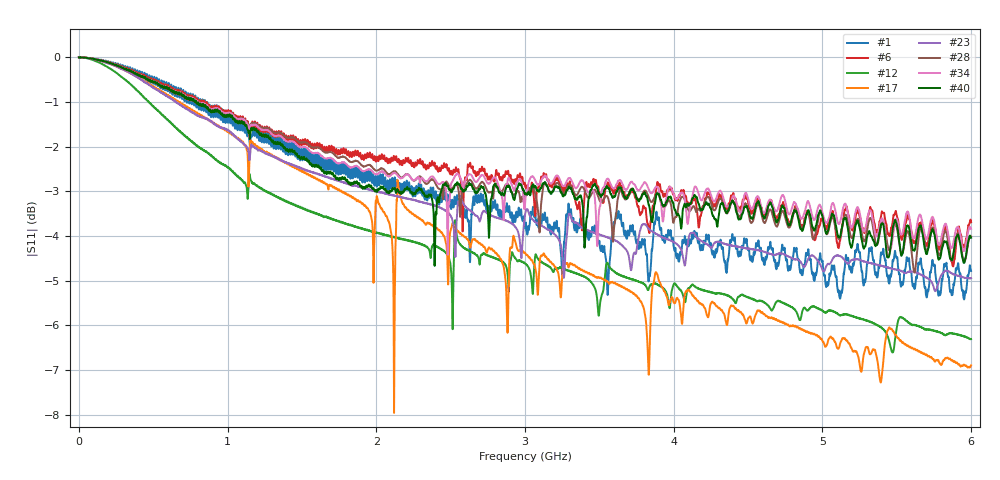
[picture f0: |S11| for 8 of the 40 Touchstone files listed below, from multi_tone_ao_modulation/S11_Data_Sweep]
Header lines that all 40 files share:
!Keysight Technologies,P9374A,MY57304198,A.17.20.09
!Correction: S11(C  1-Port  )
!S21(C  1-Port  )
!S12(Off)
!S22(Off)
!S2P File: Measurements: S11, S21, S12, S22:
# Hz S  dB  R 50
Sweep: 300 kHz to 6 GHz
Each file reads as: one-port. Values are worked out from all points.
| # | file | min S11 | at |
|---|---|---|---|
| 1 | die2-3_wg01_RU_ultranarrowperiodic_bi_1mm_2024-08-16-16-13.s2p | -5.4 dB | 5.953 GHz |
| 2 | die2-3_wg01_RU_ultranarrowperiodic_bi_2mm_2024-08-16-16-19.s2p | -5.7 dB | 5.953 GHz |
| 3 | die2-3_wg01_RU_ultranarrowperiodic_bi_500um_2024-08-16-16-16.s2p | -4.4 dB | 5.121 GHz |
| 4 | die2-3_wg02_RU_ultranarrowperiodic_bi_1mm_2024-08-16-16-33.s2p | -5.8 dB | 5.866 GHz |
| 5 | die2-3_wg2_RU_ultranarrowperiodic_bi_1mm_2024-08-20-09-36.s2p | -4.5 dB | 5.901 GHz |
| 6 | die2-3_wg02_RU_ultranarrowperiodic_bi_500um_2024-08-16-16-30.s2p | -4.7 dB | 5.88 GHz |
| 7 | die2-3_wg02_RU_ultranarrowperiodicl_bi_2mm_2024-08-16-16-27.s2p | -6.5 dB | 5.865 GHz |
| 8 | die2-3_wg3_RU_ultranarrowperiodic_bi_1mm_2024-08-20-09-40.s2p | -5.0 dB | 5.686 GHz |
| 9 | die2-3_wg3_RU_ultranarrowperiodic_bi_2mm_2024-08-20-09-45.s2p | -7.4 dB | 5.644 GHz |
| 10 | die2-3_wg3_RU_ultranarrowperiodic_bi_500um_2024-08-20-09-42.s2p | -5.2 dB | 5.668 GHz |
| 11 | die2-3_wg4_RU_ultranarrowperiodic_bi_1mm_2024-08-20-09-53.s2p | -6.6 dB | 5.508 GHz |
| 12 | die2-3_wg4_RU_ultranarrowperiodic_bi_2mm_2024-08-20-09-48.s2p | -6.6 dB | 5.472 GHz |
| 13 | die2-3_wg4_RU_ultranarrowperiodic_bi_500um_2024-08-20-09-51.s2p | -4.8 dB | 5.504 GHz |
| 14 | die2-3_wg5_RU_ultranarrowperiodic_bi_1mm_2024-08-20-09-55.s2p | -6.5 dB | 5.999 GHz |
| 15 | die2-3_wg5_RU_ultranarrowperiodic_bi_2mm_2024-08-20-10-02.s2p | -6.0 dB | 5.998 GHz |
| 16 | die2-3_wg5_RU_ultranarrowperiodic_bi_500um_2024-08-20-10-00.s2p | -5.2 dB | 5.244 GHz |
| 17 | die2-3_wg6_RU_ultranarrowperiodic_bi_1mm_2024-08-20-10-08.s2p | -8.0 dB | 2.12 GHz |
| 18 | die2-3_wg6_RU_ultranarrowperiodic_bi_2mm_2024-08-20-10-04.s2p | -8.0 dB | 2.108 GHz |
| 19 | die2-3_wg6_RU_ultranarrowperiodic_bi_500um_2024-08-20-10-07.s2p | -6.4 dB | 2.117 GHz |
| 20 | die2-3_wg7_RL_narrowperiodic_bar_2mm_2024-08-15-12-37.s2p | -6.3 dB | 5.789 GHz |
| 21 | die2-3_wg7_RL_wideperiodic_bar_1mm_2024-08-15-12-21.s2p | -5.9 dB | 5.788 GHz |
| 22 | die2-3_wg7_RL_wideperiodic_bar_500um_2024-08-15-12-31.s2p | -4.4 dB | 5.787 GHz |
| 23 | die2-3_wg7_RU_ultranarrowperiodic_bi_1mm_2024-08-20-10-11.s2p | -5.2 dB | 5.758 GHz |
| 24 | die2-3_wg7_RU_ultranarrowperiodic_bi_2mm_2024-08-20-10-15.s2p | -6.4 dB | 5.72 GHz |
| 25 | die2-3_wg7_RU_ultranarrowperiodic_bi_500um_2024-08-20-10-13.s2p | -5.1 dB | 5.745 GHz |
| 26 | die2-3_wg8_RL_midperiodic_bar_1mm_2024-08-15-12-49.s2p | -5.8 dB | 5.619 GHz |
| 27 | die2-3_wg8_RL_narrowperiodic_bar_2mm_2024-08-15-13-02.s2p | -4.8 dB | 5.957 GHz |
| 28 | die2-3_wg8_RL_wideperiodic_bar_500um_2024-08-15-12-55.s2p | -4.8 dB | 5.619 GHz |
| 29 | die2-3_wg8_RU_ultranarrowperiodic_bi_1mm_2024-08-20-10-21.s2p | -6.2 dB | 5.575 GHz |
| 30 | die2-3_wg8_RU_ultranarrowperiodic_bi_2mm_2024-08-20-10-17.s2p | -7.2 dB | 5.535 GHz |
| 31 | die2-3_wg8_RU_ultranarrowperiodic_bi_500um_2024-08-20-10-19.s2p | -5.3 dB | 5.568 GHz |
| 32 | die2-3_wg9_RL_midperiodic_bar_1mm_2024-08-15-13-10.s2p | -6.6 dB | 5.954 GHz |
| 33 | die2-3_wg9_RL_narrowperiodic_bar_2mm_2024-08-15-13-18.s2p | -6.8 dB | 5.442 GHz |
| 34 | die2-3_wg9_RL_wideperiodic_bar_500um_2024-08-15-13-12.s2p | -4.5 dB | 5.443 GHz |
| 35 | die2-3_wg9_RU_ultranarrowperiodic_bi_1mm_2024-08-20-10-23.s2p | -6.7 dB | 2.47 GHz |
| 36 | die2-3_wg9_RU_ultranarrowperiodic_bi_2mm_2024-08-20-10-28.s2p | -7.8 dB | 5.949 GHz |
| 37 | die2-3_wg9_RU_ultranarrowperiodic_bi_500um_2024-08-20-10-26.s2p | -5.4 dB | 2.464 GHz |
| 38 | die2-3_wg10_RL_midperiodic_bar_1mm_2024-08-15-13-29.s2p | -7.4 dB | 5.951 GHz |
| 39 | die2-3_wg10_RL_narrowperiodic_bar_2mm_2024-08-15-13-22.s2p | -7.0 dB | 2.394 GHz |
| 40 | die2-3_wg10_RL_wideperiodic_bar_500um_2024-08-15-13-22.s2p | -4.7 dB | 2.393 GHz |
